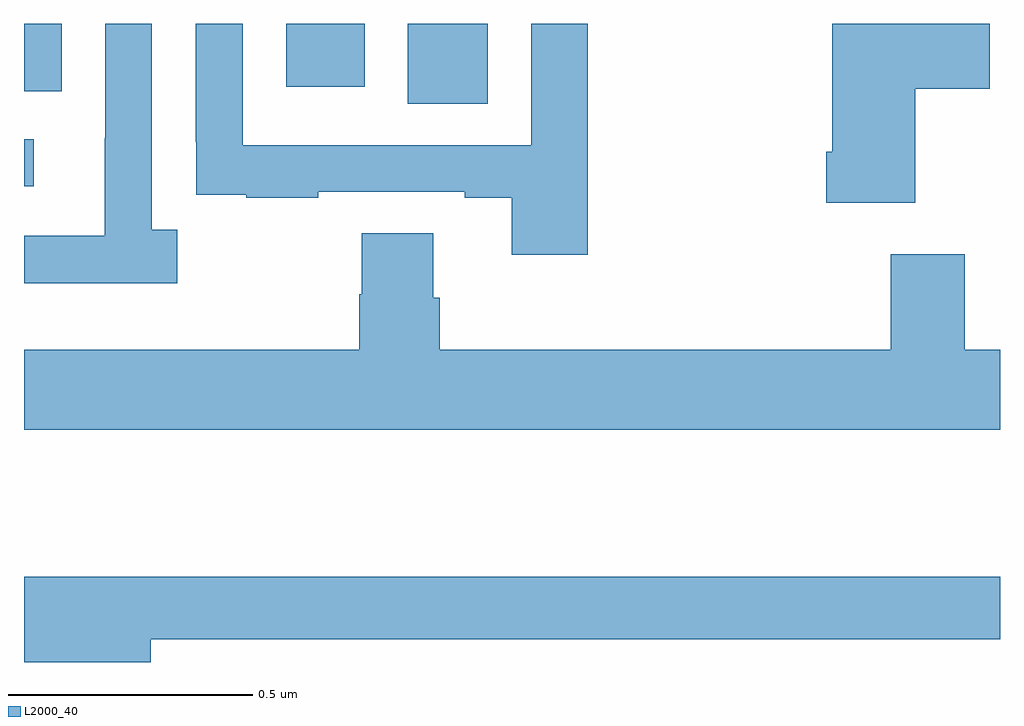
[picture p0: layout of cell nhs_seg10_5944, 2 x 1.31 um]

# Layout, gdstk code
import gdstk
lib = gdstk.Library(unit=1e-6, precision=1e-09)
def R(c, l, rs):  # rectangles x0, y0, x1, y1
    for r in rs: c.add(gdstk.rectangle(r[:2], r[2:], *l))
def P(c, l, *ps):  # polygons
    for p in ps: c.add(gdstk.Polygon(p, *l))
L2000_40 = (2000, 40)

nhs_seg10_5944 = lib.new_cell('nhs_seg10_5944')
R(nhs_seg10_5944, L2000_40, [(185,1282.167,185.02,1282.263), (185.786,1282.336,185.95,1282.5), (185,1282.361,185.077,1282.5), (185.537,1282.371,185.698,1282.5)])
P(nhs_seg10_5944, L2000_40, [(186.155,1282.5),(186.039,1282.5),(186.039,1282.251),(185.448,1282.251),(185.448,1282.5),(185.352,1282.5),(185.352,1282.258),(185.353,1282.258),(185.353,1282.149),(185.455,1282.149),(185.455,1282.143),(185.603,1282.143),(185.603,1282.155),(185.903,1282.155),(185.903,1282.143),(185.999,1282.143),(185.999,1282.026),(186.155,1282.026)],
  [(185.314,1282.078),(185.262,1282.078),(185.262,1282.5),(185.166,1282.5),(185.166,1282.265),(185.165,1282.265),(185.165,1282.065),(185,1282.065),(185,1281.968),(185.314,1281.968)],
  [(186.826,1282.366),(186.979,1282.366),(186.979,1282.5),(186.656,1282.5),(186.656,1282.237),(186.644,1282.237),(186.644,1282.133),(186.826,1282.133)],
  [(187,1281.832),(186.928,1281.832),(186.928,1282.027),(186.776,1282.027),(186.776,1281.832),(185.852,1281.832),(185.852,1281.938),(185.839,1281.938),(185.839,1282.07),(185.692,1282.07),(185.692,1281.945),(185.687,1281.945),(185.687,1281.832),(185,1281.832),(185,1281.668),(187,1281.668)],
  [(185.26,1281.238),(187,1281.238),(187,1281.367),(185,1281.367),(185,1281.191),(185.26,1281.191)])

lib.write_gds('nhs_seg10_5944.gds')
